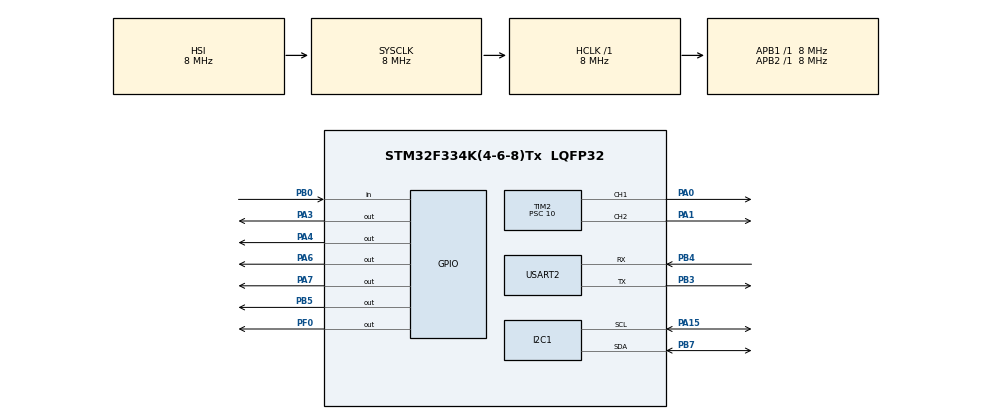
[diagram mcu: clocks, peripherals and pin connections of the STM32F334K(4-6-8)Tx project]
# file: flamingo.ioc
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Mcu.Family=STM32F3
I2C1.Speed=100
RCC.CortexFreq_Value=8000000
TIM2.Channel-PWM\ Generation2\ CH2=TIM_CHANNEL_2
ProjectManager.StackSize=0x400
TIM2.Pulse-PWM\ Generation1\ CH1=0
PA13.Signal=SYS_JTMS-SWDIO
SH.S_TIM2_CH2.0=TIM2_CH2,PWM Generation2 CH2
ProjectManager.TargetToolchain=STM32CubeIDE
PA1.Signal=S_TIM2_CH2
RCC.AHBFreq_Value=8000000
RCC.HSE_VALUE=8000000
PB3.Mode=Multiprocessor_communication
board=custom
PA15.Mode=I2C
RCC.APB2Freq_Value=8000000
PB4.Mode=Multiprocessor_communication
PF0\ /\ OSC_IN.Signal=GPIO_Output
VP_TIM2_VS_ClockSourceINT.Mode=Internal
PB7.Signal=I2C1_SDA
TIM2.Channel-PWM\ Generation1\ CH1=TIM_CHANNEL_1
TIM2.Period=256
Mcu.Name=STM32F334K(4-6-8)Tx
PA0.Signal=S_TIM2_CH1_ETR
USART2.VirtualMode-Multiprocessor_communication=VM_ASYNC
PB3.Signal=USART2_TX
PA4.Signal=GPIO_Output
RCC.SYSCLKFreq_VALUE=8000000
Mcu.Package=LQFP32
PB5.Signal=GPIO_Output
TIM2.Prescaler=10
PA6.Signal=GPIO_Output
PB7.Mode=I2C
SH.S_TIM2_CH1_ETR.0=TIM2_CH1,PWM Generation1 CH1
PA14.Signal=SYS_JTCK-SWCLK
PA15.Signal=I2C1_SCL
ProjectManager.HeapSize=0x200
TIM2.Pulse-PWM\ Generation2\ CH2=0
RCC.HSI_VALUE=8000000
NVIC.PriorityGroup=NVIC_PRIORITYGROUP_4
TIM2.AutoReloadPreload=TIM_AUTORELOAD_PRELOAD_ENABLE
RCC.APB1Freq_Value=8000000
PB0.Signal=GPIO_Input
PB4.Signal=USART2_RX
PA3.Signal=GPIO_Output
PA7.Signal=GPIO_Output

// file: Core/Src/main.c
/* USER CODE BEGIN Header */
/**
  ******************************************************************************
  * @file           : main.c
  * @brief          : Main program body
  ******************************************************************************
  * @attention
  *
  * <h2><center>&copy; Copyright (c) 2021 STMicroelectronics.
  * All rights reserved.</center></h2>
  *
  * This software component is licensed by ST under BSD 3-Clause license,
  * the "License"; You may not use this file except in compliance with the
  * License. You may obtain a copy of the License at:
  *                        opensource.org/licenses/BSD-3-Clause
  *
  ******************************************************************************
  */
/* USER CODE END Header */
#include "main.h"

/* USER CODE BEGIN Includes */
#include <string.h>
#include <stdio.h>

/* USER CODE END Includes */

I2C_HandleTypeDef hi2c1;

TIM_HandleTypeDef htim2;

UART_HandleTypeDef huart2;

/* USER CODE BEGIN PV */
UART_HandleTypeDef huart2;
uint8_t uartTest[5] = "Peep!";

I2C_HandleTypeDef hi2c1;
// Register values
uint8_t LD_ADDR = 0b00011101 << 1;
const uint8_t reg_whoAmI = 0x0F;
const uint8_t reg_offset_x = 0x16;
const uint8_t reg_offset_y = 0x17;
const uint8_t reg_offset_z = 0x18;
const uint8_t reg_ctrl_reg1 = 0x20;
const uint8_t reg_ctrl_reg2 = 0x21;
const uint8_t reg_ctrl_reg3 = 0x22;
const uint8_t reg_outX_l = 0x28;
const uint8_t reg_outX_h = 0x29;
const uint8_t reg_outY_l = 0x2A;
const uint8_t reg_outY_h = 0x2B;
const uint8_t reg_outZ_l = 0x2C;
const uint8_t reg_outZ_h = 0x2D;

const uint16_t x_offset = 500;
const uint16_t z_offset = 280;

//const uint16_t pid_target = 1024;
const uint16_t pid_target = 1050;
const uint16_t pid_target_range = 100;
int16_t pid_error;
float pid_kp = 0.92;
float pid_ki = 0.0000;
float pid_kd = 0.39;
float pid_proportional = 0;
float pid_integral = 0;
float pid_derivative = 0;
float pid_combinedError = 0;
float pid_lastError = 0;
float pid_totalError = 0;
float pid_dc_offset = 15;

uint16_t motarDuty = 0;

/* USER CODE END PV */

void SystemClock_Config(void);
static void MX_GPIO_Init(void);
static void MX_USART2_UART_Init(void);
static void MX_I2C1_Init(void);
static void MX_TIM2_Init(void);
/* USER CODE BEGIN PFP */
void isDeviceAlive(uint8_t);
void initLDDevice(void);
void initMotors();
void i2cWriteOneByte(uint8_t, uint8_t, uint8_t);
void setMotorDirectionForwards();
void setMotorDirectionBackwards();
uint8_t i2cReadOneByte(uint8_t, uint8_t);
uint16_t getJustifiedData(uint8_t, uint8_t);
uint16_t twosComplement(uint16_t);
uint8_t checkDirection(uint16_t);
/* USER CODE END PFP */

int main(void)
{
  /* USER CODE BEGIN 1 */
  uint8_t buf[12];

  /* USER CODE END 1 */

  /* MCU Configuration--------------------------------------------------------*/

  /* Reset of all peripherals, Initializes the Flash interface and the Systick. */
  HAL_Init();

  /* Configure the system clock */
  SystemClock_Config();

  /* Initialize all configured peripherals */
  MX_GPIO_Init();
  MX_USART2_UART_Init();
  MX_I2C1_Init();
  MX_TIM2_Init();
  /* USER CODE BEGIN 2 */

  // Start of program
  // Configure device so its ready to print data
  initLDDevice();

  // Check if i2c device(s) are alive
  isDeviceAlive(LD_ADDR);

  // Initialises motars
  initMotors();

  // Tests each motor for their speed and direction
  // testMotors();

  /* USER CODE END 2 */

  /* Infinite loop */
  /* USER CODE BEGIN WHILE */
  while (1)
  {
	  // Blink LED
	  HAL_GPIO_TogglePin(GPIOF, GPIO_PIN_0);

	  // Gets acceleration data from LD device
	  uint16_t outX = getJustifiedData(reg_outX_l, reg_outX_h);
	  float gX = twosComplement(outX) - x_offset;

	  uint16_t outZ = getJustifiedData(reg_outZ_l, reg_outZ_h) + z_offset;
	  uint8_t direction = checkDirection(outZ);
	  float gZ = outZ;

	  // --- PID Control code ---
	  // Calculate the error between the desired target
	  pid_error = (pid_target - gX)/1;

	  if(pid_target-pid_target_range < pid_target < pid_target+pid_target_range)
	  {
		  // Set direction of motors to be correct
		  	  if(direction == 1)
		  	  {
		  		  setMotorDirectionForwards();
		  	  }
		  	  else
		  	  {
		  		  setMotorDirectionBackwards();
		  	  }

	  // Calculate the integral error
	  if(pid_error != 0)
	  {
		  pid_totalError += pid_error;
	  }
	  else
	  {
		  pid_totalError = 0;
	  }

	  // Calculate all errors in PID controller
	  pid_proportional = pid_error * pid_kp;
	  pid_integral = pid_totalError * pid_ki;
	  pid_derivative = (pid_error - pid_lastError) * pid_kd;

	  pid_lastError = pid_error;

	  pid_combinedError = pid_proportional + pid_integral + pid_derivative;

	  // Flips sign if total error is negative
	  if(pid_combinedError < 0)
	  {
		  pid_combinedError *= -1;
	  }
	  if(pid_combinedError >= 256)
	  {
		  pid_combinedError = 256;
	  }

	  // Due to accelerometer calibration errors, a DC bias is added to the control loop when flamingo is tilted forwards
	  if(direction == 1)
	  {
		pid_combinedError += pid_dc_offset;
	  }

	  // Set the motor drivers duty
	  motarDuty = pid_combinedError;
	  TIM2->CCR1 = motarDuty+pid_dc_offset;
	  TIM2->CCR2 = motarDuty+pid_dc_offset;

	  }
	  else
	  {
		  TIM2->CCR1 = 0;
		  TIM2->CCR2 = 0;
	  }

	  // --- End of PID Control code ---

    /* USER CODE END WHILE */

  }
}

void SystemClock_Config(void)
{
  RCC_OscInitTypeDef RCC_OscInitStruct = {0};
  RCC_ClkInitTypeDef RCC_ClkInitStruct = {0};
  RCC_PeriphCLKInitTypeDef PeriphClkInit = {0};

  /** Initializes the RCC Oscillators according to the specified parameters
  * in the RCC_OscInitTypeDef structure.
  */
  RCC_OscInitStruct.OscillatorType = RCC_OSCILLATORTYPE_HSI;
  RCC_OscInitStruct.HSIState = RCC_HSI_ON;
  RCC_OscInitStruct.HSICalibrationValue = RCC_HSICALIBRATION_DEFAULT;
  RCC_OscInitStruct.PLL.PLLState = RCC_PLL_NONE;
  if (HAL_RCC_OscConfig(&RCC_OscInitStruct) != HAL_OK)
  {
    Error_Handler();
  }
  /** Initializes the CPU, AHB and APB buses clocks
  */
  RCC_ClkInitStruct.ClockType = RCC_CLOCKTYPE_HCLK|RCC_CLOCKTYPE_SYSCLK
                              |RCC_CLOCKTYPE_PCLK1|RCC_CLOCKTYPE_PCLK2;
  RCC_ClkInitStruct.SYSCLKSource = RCC_SYSCLKSOURCE_HSI;
  RCC_ClkInitStruct.AHBCLKDivider = RCC_SYSCLK_DIV1;
  RCC_ClkInitStruct.APB1CLKDivider = RCC_HCLK_DIV1;
  RCC_ClkInitStruct.APB2CLKDivider = RCC_HCLK_DIV1;

  if (HAL_RCC_ClockConfig(&RCC_ClkInitStruct, FLASH_LATENCY_0) != HAL_OK)
  {
    Error_Handler();
  }
  PeriphClkInit.PeriphClockSelection = RCC_PERIPHCLK_I2C1;
  PeriphClkInit.I2c1ClockSelection = RCC_I2C1CLKSOURCE_HSI;
  if (HAL_RCCEx_PeriphCLKConfig(&PeriphClkInit) != HAL_OK)
  {
    Error_Handler();
  }
}

static void MX_I2C1_Init(void)
{

  hi2c1.Instance = I2C1;
  hi2c1.Init.Timing = 0x2000090E;
  hi2c1.Init.OwnAddress1 = 0;
  hi2c1.Init.AddressingMode = I2C_ADDRESSINGMODE_7BIT;
  hi2c1.Init.DualAddressMode = I2C_DUALADDRESS_DISABLE;
  hi2c1.Init.OwnAddress2 = 0;
  hi2c1.Init.OwnAddress2Masks = I2C_OA2_NOMASK;
  hi2c1.Init.GeneralCallMode = I2C_GENERALCALL_DISABLE;
  hi2c1.Init.NoStretchMode = I2C_NOSTRETCH_DISABLE;
  if (HAL_I2C_Init(&hi2c1) != HAL_OK)
  {
    Error_Handler();
  }
  /** Configure Analogue filter
  */
  if (HAL_I2CEx_ConfigAnalogFilter(&hi2c1, I2C_ANALOGFILTER_ENABLE) != HAL_OK)
  {
    Error_Handler();
  }
  /** Configure Digital filter
  */
  if (HAL_I2CEx_ConfigDigitalFilter(&hi2c1, 0) != HAL_OK)
  {
    Error_Handler();
  }

}

static void MX_TIM2_Init(void)
{

  TIM_ClockConfigTypeDef sClockSourceConfig = {0};
  TIM_MasterConfigTypeDef sMasterConfig = {0};
  TIM_OC_InitTypeDef sConfigOC = {0};

  htim2.Instance = TIM2;
  htim2.Init.Prescaler = 10;
  htim2.Init.CounterMode = TIM_COUNTERMODE_UP;
  htim2.Init.Period = 256;
  htim2.Init.ClockDivision = TIM_CLOCKDIVISION_DIV1;
  htim2.Init.AutoReloadPreload = TIM_AUTORELOAD_PRELOAD_ENABLE;
  if (HAL_TIM_Base_Init(&htim2) != HAL_OK)
  {
    Error_Handler();
  }
  sClockSourceConfig.ClockSource = TIM_CLOCKSOURCE_INTERNAL;
  if (HAL_TIM_ConfigClockSource(&htim2, &sClockSourceConfig) != HAL_OK)
  {
    Error_Handler();
  }
  if (HAL_TIM_PWM_Init(&htim2) != HAL_OK)
  {
    Error_Handler();
  }
  sMasterConfig.MasterOutputTrigger = TIM_TRGO_RESET;
  sMasterConfig.MasterSlaveMode = TIM_MASTERSLAVEMODE_DISABLE;
  if (HAL_TIMEx_MasterConfigSynchronization(&htim2, &sMasterConfig) != HAL_OK)
  {
    Error_Handler();
  }
  sConfigOC.OCMode = TIM_OCMODE_PWM1;
  sConfigOC.Pulse = 0;
  sConfigOC.OCPolarity = TIM_OCPOLARITY_HIGH;
  sConfigOC.OCFastMode = TIM_OCFAST_DISABLE;
  if (HAL_TIM_PWM_ConfigChannel(&htim2, &sConfigOC, TIM_CHANNEL_1) != HAL_OK)
  {
    Error_Handler();
  }
  if (HAL_TIM_PWM_ConfigChannel(&htim2, &sConfigOC, TIM_CHANNEL_2) != HAL_OK)
  {
    Error_Handler();
  }
  HAL_TIM_MspPostInit(&htim2);

}

static void MX_USART2_UART_Init(void)
{

  huart2.Instance = USART2;
  huart2.Init.BaudRate = 38400;
  huart2.Init.WordLength = UART_WORDLENGTH_8B;
  huart2.Init.StopBits = UART_STOPBITS_1;
  huart2.Init.Parity = UART_PARITY_NONE;
  huart2.Init.Mode = UART_MODE_TX_RX;
  huart2.Init.HwFlowCtl = UART_HWCONTROL_NONE;
  huart2.Init.OverSampling = UART_OVERSAMPLING_16;
  huart2.Init.OneBitSampling = UART_ONE_BIT_SAMPLE_DISABLE;
  huart2.AdvancedInit.AdvFeatureInit = UART_ADVFEATURE_NO_INIT;
  if (HAL_MultiProcessor_Init(&huart2, 0, UART_WAKEUPMETHOD_IDLELINE) != HAL_OK)
  {
    Error_Handler();
  }

}

static void MX_GPIO_Init(void)
{
  GPIO_InitTypeDef GPIO_InitStruct = {0};

  /* GPIO Ports Clock Enable */
  __HAL_RCC_GPIOF_CLK_ENABLE();
  __HAL_RCC_GPIOA_CLK_ENABLE();
  __HAL_RCC_GPIOB_CLK_ENABLE();

  /*Configure GPIO pin Output Level */
  HAL_GPIO_WritePin(GPIOF, GPIO_PIN_0, GPIO_PIN_RESET);

  /*Configure GPIO pin Output Level */
  HAL_GPIO_WritePin(GPIOA, GPIO_PIN_3|GPIO_PIN_4|GPIO_PIN_6|GPIO_PIN_7, GPIO_PIN_RESET);

  /*Configure GPIO pin Output Level */
  HAL_GPIO_WritePin(GPIOB, GPIO_PIN_5, GPIO_PIN_RESET);

  /*Configure GPIO pin : PF0 */
  GPIO_InitStruct.Pin = GPIO_PIN_0;
  GPIO_InitStruct.Mode = GPIO_MODE_OUTPUT_PP;
  GPIO_InitStruct.Pull = GPIO_NOPULL;
  GPIO_InitStruct.Speed = GPIO_SPEED_FREQ_LOW;
  HAL_GPIO_Init(GPIOF, &GPIO_InitStruct);

  /*Configure GPIO pins : PA3 PA4 PA6 PA7 */
  GPIO_InitStruct.Pin = GPIO_PIN_3|GPIO_PIN_4|GPIO_PIN_6|GPIO_PIN_7;
  GPIO_InitStruct.Mode = GPIO_MODE_OUTPUT_PP;
  GPIO_InitStruct.Pull = GPIO_NOPULL;
  GPIO_InitStruct.Speed = GPIO_SPEED_FREQ_LOW;
  HAL_GPIO_Init(GPIOA, &GPIO_InitStruct);

  /*Configure GPIO pin : PB0 */
  GPIO_InitStruct.Pin = GPIO_PIN_0;
  GPIO_InitStruct.Mode = GPIO_MODE_INPUT;
  GPIO_InitStruct.Pull = GPIO_NOPULL;
  HAL_GPIO_Init(GPIOB, &GPIO_InitStruct);

  /*Configure GPIO pin : PB5 */
  GPIO_InitStruct.Pin = GPIO_PIN_5;
  GPIO_InitStruct.Mode = GPIO_MODE_OUTPUT_PP;
  GPIO_InitStruct.Pull = GPIO_NOPULL;
  GPIO_InitStruct.Speed = GPIO_SPEED_FREQ_LOW;
  HAL_GPIO_Init(GPIOB, &GPIO_InitStruct);

}

/* USER CODE BEGIN 4 */
// User Functions

// Blinks LED quickly 3 times
void ledSuccess()
{
	for(int i = 0; i < 6; i ++)
	{
		HAL_GPIO_TogglePin(GPIOF, GPIO_PIN_0);
		HAL_Delay(50);
	}
}

// Checks if device is alive, if so it blinks LED fast 5 times
void isDeviceAlive(uint8_t slaveAddress)
{
	if(HAL_I2C_IsDeviceReady(&hi2c1, LD_ADDR, 5, 100) == HAL_OK)
	{
		ledSuccess();
	}
}

// Writes one byte to the a register
void i2cWriteOneByte(uint8_t slaveAddress, uint8_t regAddress, uint8_t data)
{
	uint8_t buf[2];

	buf[0] = 0x20;
	buf[1] = 0xCF;
  	HAL_I2C_Master_Transmit(&hi2c1, LD_ADDR, buf, 2, 100);
}

// Reads one byte on slave device
uint8_t i2cReadOneByte(uint8_t slaveAddress, uint8_t regAddress)
{
	uint8_t buf[1];
	uint8_t buf2[1];
	buf[0] = regAddress;
	HAL_I2C_Master_Transmit(&hi2c1, slaveAddress, buf, 1, 100);

	HAL_I2C_Master_Receive(&hi2c1, LD_ADDR, buf2, 1, 100);
	return buf2[0];
}

// Combines low and high bytes to get the justified data
uint16_t getJustifiedData(uint8_t LSBAddress, uint8_t HSBAddress)
{
	int16_t justifiedData;
	uint8_t lsbData = i2cReadOneByte(LD_ADDR, LSBAddress);
	uint8_t hsbData = i2cReadOneByte(LD_ADDR, HSBAddress);

	justifiedData = ((lsbData | ((int16_t)hsbData << 8 )) & 0x0FFF);

	// Compute twos complement
	if(justifiedData > 0x7FF)
	{
		justifiedData |= 0xF000;
		// Gets magnitude for twos complement
		// justifiedData = ((~justifiedData) + 1) & 0x0FFF;
	}

	return(justifiedData);
}

// Returns the twos complement of a 12 bit number
uint16_t twosComplement(uint16_t data)
{
	//if(data > 0x07FF)
	if(data > 0x07FF)
	{
		data = (((~data) + 1) & 0x0FFF);
	}
	return(data);
}

// Checks the direction of which way the board is tilting
// If it returns 0, it if tilting backwards
// If it returns 1, it is tilting forwards
uint8_t checkDirection(uint16_t data)
{
	uint8_t direction = 0;

	if(data > 0x07FF)
	{
		direction = 1;
	}

	return(direction);
}

// Inits LD device
void initLDDevice(void)
{
	// Set CS high
	HAL_GPIO_WritePin(GPIOB, GPIO_PIN_5, 1);
	// Turn on device for measurements
	i2cWriteOneByte(LD_ADDR, 0x20, 0xCF);

	// Reads the who am I register and outputs it on UART
	uint8_t data = i2cReadOneByte(LD_ADDR, reg_whoAmI);
	HAL_UART_Transmit(&huart2, &data, 1, 100);
}

// Start PWM channels on DRV devices
void initMotors()
{
	// Turn on PWM
	HAL_TIM_PWM_Start(&htim2, TIM_CHANNEL_1);
	HAL_TIM_PWM_Start(&htim2, TIM_CHANNEL_2);

	// Enable devices
	HAL_GPIO_WritePin(GPIOA, GPIO_PIN_3, 1);
	HAL_GPIO_WritePin(GPIOA, GPIO_PIN_6, 1);
}

// Tests motars on their speed and direction
// Note:	Forward direction: pin4=1, pin7=0
//			Backward direction: pin4=0, pin7=1
void testMotors()
{
	HAL_GPIO_TogglePin(GPIOA, GPIO_PIN_7);

	for(int j = 0; j < 2; j ++)
	{
		for(int i = 0; i < 256; i ++)
		{
			if(i > 00)
				TIM2->CCR1 = i+00;
				TIM2->CCR2 = i+00;
			HAL_Delay(10);
		}
		for(int i = 256; i > 5; i --)
		{
			TIM2->CCR1 = i+00;
			TIM2->CCR2 = i+00;
			HAL_Delay(10);
		}
		HAL_GPIO_TogglePin(GPIOA, GPIO_PIN_4);
		HAL_GPIO_TogglePin(GPIOA, GPIO_PIN_7);
	}
}

// Sets the motor direction forwards
void setMotorDirectionForwards()
{
	HAL_GPIO_WritePin(GPIOA, GPIO_PIN_4, 1);
	HAL_GPIO_WritePin(GPIOA, GPIO_PIN_7, 0);
}

// Sets the motor direction backwards
void setMotorDirectionBackwards()
{
	HAL_GPIO_WritePin(GPIOA, GPIO_PIN_4, 0);
	HAL_GPIO_WritePin(GPIOA, GPIO_PIN_7, 1);
}

/* USER CODE END 4 */

void Error_Handler(void)
{
  __disable_irq();
  while (1)
  {
  }
}

/************************ (C) COPYRIGHT STMicroelectronics *****END OF FILE****/
